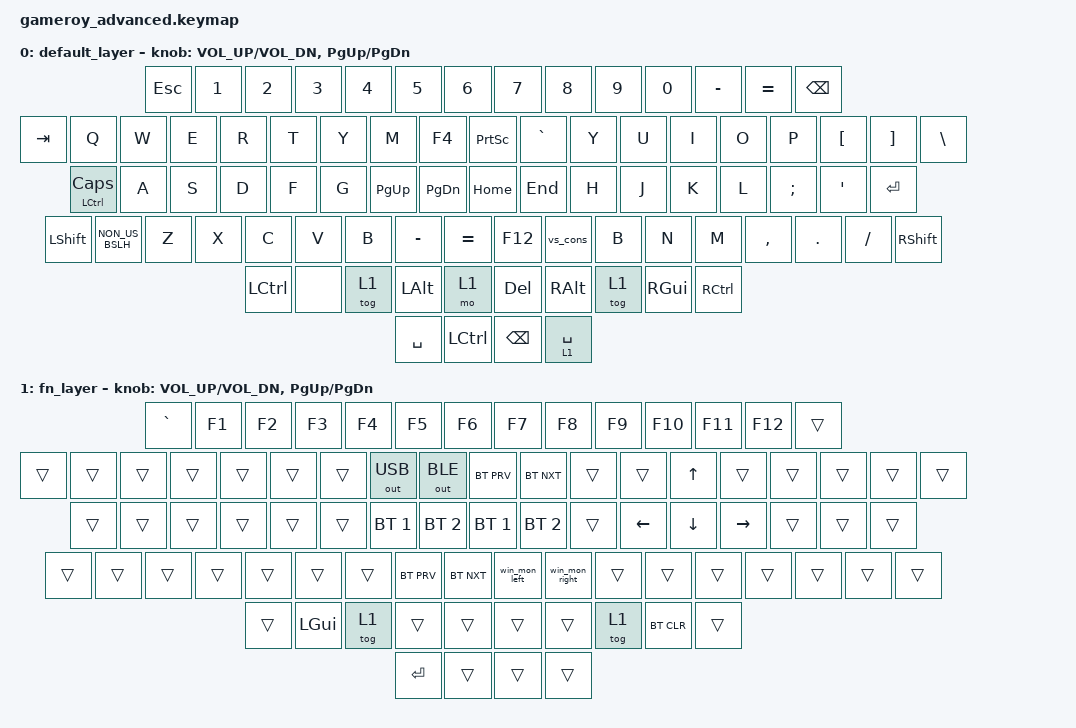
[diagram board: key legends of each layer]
#include <behaviors.dtsi>
#include <dt-bindings/zmk/keys.h>
#include <dt-bindings/zmk/bt.h>
#include <dt-bindings/zmk/outputs.h>

&mt {
    tapping-term-ms = <400>;
};

/ {
macros {
    vs_cons: vs_cons {
            label = "ZM_vs_cons";
            compatible = "zmk,behavior-macro";
            #binding-cells = <0>;
            bindings
                = <&macro_press &kp LSHFT>
                , <&macro_press &kp LCTRL>
                , <&macro_tap &kp GRAVE>
                , <&macro_release &kp LCTRL>
                , <&macro_release &kp LSHFT>
                ;
        };
    win_mon_left: win_mon_left {
            label = "ZM_win_mon_left";
            compatible = "zmk,behavior-macro";
            #binding-cells = <0>;
            bindings
                = <&macro_press &kp LGUI>
                , <&macro_press &kp LSHFT>
                , <&macro_tap &kp LEFT>
                , <&macro_release &kp LGUI>
                , <&macro_release &kp LSHFT>
                ;
        };
        win_mon_right: win_mon_right {
            label = "ZM_win_mon_right";
            compatible = "zmk,behavior-macro";
            #binding-cells = <0>;
            bindings
                = <&macro_press &kp LGUI>
                , <&macro_press &kp LSHFT>
                , <&macro_tap &kp RIGHT>
                , <&macro_release &kp LGUI>
                , <&macro_release &kp LSHFT>
                ;
        };
};
    keymap {
        compatible = "zmk,keymap";

        default_layer {
// --------------------------------------------------------------------------------------------------------------------------------------------------------------------
// |   ESC   |    1    |    2    |    3    |    4    |    5    |    6    |                                                                   |    7    |    8    |    9    |    0    |    -    |    =    |   BSPC  |
// |   TAB   |    Q    |    W    |    E    |    R    |    T    |    Y    |    |   M     |   F4    |                  | PRTSCR  |   `/~  |    |    Y    |    U    |    I    |    O    |    P    |    [    |    ]    |    \    |
// |CAPS/CTRL|    A    |    S    |    D    |    F    |    G    |              |   PGUP  |   PGDN  |                  |   HOME  |   END  |    |    H    |    J    |    K    |    L    |   ;     |    '    |   ENTER |
// |  SHIFT  |    \    |    Z    |    X    |    C    |    V    |    B    |    |   -/-   |   +/=   |                  |   F12   |MacroCON|    |    B    |    N    |    M    |    ,    |    .    |    /    |   SHIFT |
// |  CTRL   |      |  Fn  |  Alt  |                                          |   FN1   |                                      | DELETE |                                           | ALT |  Fn  |  GUI  |   CTRL  | 
// |                                                                |  SPACE  |   CTRL  |                                      |  BSPC  |  SPACE(1) |
// | Left enconder vol up down                                                                                        Right enconder page up down  
            bindings = <
	&kp ESC  &kp N1          &kp N2   &kp N3    &kp N4    &kp N5    &kp N6                                                                        &kp N7      &kp N8    &kp N9    &kp N0    &kp MINUS  &kp EQUAL  &kp BSPC
    &kp TAB   &kp Q           &kp W    &kp E     &kp R     &kp T     &kp Y     &kp M      &kp F4                      &kp PSCRN &kp GRAVE    &kp Y       &kp U       &kp I     &kp O     &kp P     &kp LBKT   &kp RBKT   &kp BSLH
    &mt LCTRL CAPS &kp A      &kp S    &kp D     &kp F     &kp G               &kp PG_UP  &kp PG_DN                   &kp HOME  &kp END      &kp H       &kp J     &kp K     &kp L     &kp SEMI   &kp APOS   &kp ENTER
    &kp LSHIFT &kp NON_US_BSLH &kp Z    &kp X    &kp C    &kp V     &kp B      &kp MINUS  &kp EQUAL                   &kp F12   &vs_cons    &kp B       &kp N     &kp M     &kp COMMA &kp DOT    &kp SLASH  &kp RSHIFT
    &kp LCTRL  &none          &tog 1    &kp LALT                                &mo 1                                            &kp DEL                                   &kp RALT  &tog 1     &kp RGUI   &kp RCTRL
	                                                                        &kp SPACE &kp LCTRL                              &kp BSPC  &lt 1 SPACE       
            >;

            sensor-bindings = <&inc_dec_kp C_VOL_UP C_VOL_DN &inc_dec_kp PG_UP PG_DN>;
        };

        fn_layer {
// --------------------------------------------------------------------------------------------------------------------------------------------------------------------
// |   `/~   |   F1    |   F2    |   F3    |   F4    |   F5    |   F6    |                                                                   |   F7    |   F8    |   F9    |   F10   |   F11   |   F12   |         |
// |         |         |   UP    |         |         |         |         |    |         |  USB    |                  |   USB   |        |    |         |         |   UP    |         |         |         |         |
// |         |  LEFT   |  DOWN   |  RIGHT  |         |         |              |         |         |                  |  BT1    |  BT2   |    |         |  LEFT   |  DOWN   |  RIGHT  |         |         |         |
// |         |         |         |         |         |         |         |    |         |         |                  |  BT3    |  BT4   |    |         |         |         |         |         |         |         |
// |         |      |       |       |                                         |         |                                      |        |                                           |      | Tog 1| BTCLEAR |      | 
// |                                                                |         |  ENTER  |                                      |        |         |
// | Left enconder vol up down                                                                              Right enconder page up down  
            bindings = <
	&kp GRAVE &kp F1         &kp F2    &kp F3    &kp F4   &kp F5   &kp F6                                                                     &kp F7      &kp F8    &kp F9    &kp F10    &kp F11  &kp F12     &trans
    &trans      &trans         &trans    &trans    &trans   &trans   &trans     &out OUT_USB   &out OUT_BLE       &bt BT_PRV     &bt BT_NXT      &trans     &trans      &kp UP   &trans    &trans      &trans    &trans &trans
    &trans      &trans         &trans    &trans    &trans   &trans              &bt BT_SEL 1   &bt BT_SEL 2       &bt BT_SEL 1   &bt BT_SEL 2    &trans     &kp LEFT    &kp DOWN  &kp RIGHT &trans     &trans    &trans
    &trans      &trans         &trans    &trans    &trans   &trans   &trans     &bt BT_PRV     &bt BT_NXT         &win_mon_left   &win_mon_right      &trans     &trans      &trans    &trans    &trans     &trans    &trans
    &trans      &kp LGUI       &tog 1     &trans                                 &trans                                                 &trans                                                 &trans  &tog 1 &bt BT_CLR  &trans
	                                                                        &kp ENTER  &trans                                      &trans  &trans      
            >;

            sensor-bindings = <&inc_dec_kp C_VOL_UP C_VOL_DN &inc_dec_kp PG_UP PG_DN>;
        };
    };
};
